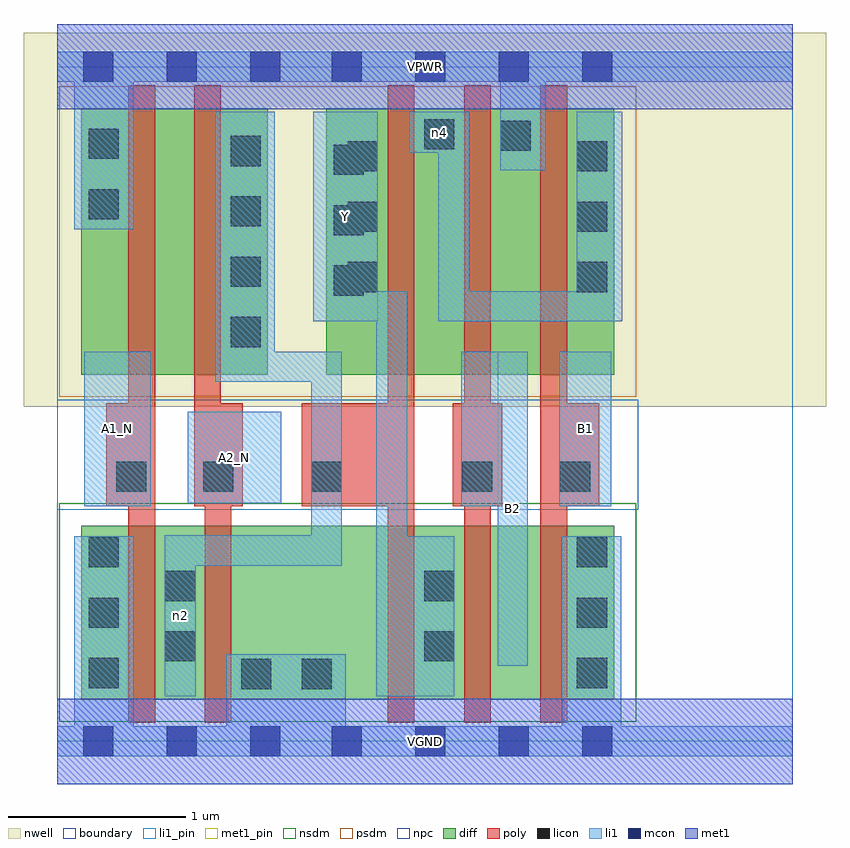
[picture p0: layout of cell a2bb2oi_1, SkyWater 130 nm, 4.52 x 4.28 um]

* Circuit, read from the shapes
.subckt a2bb2oi_1 A1_N A2_N B1 B2 VGND VPWR Y n2 n4
XM1 n2 A1_N VGND VSUBS sky130_fd_pr__nfet_01v8 w=0.98 l=0.15
XM2 VGND A2_N n2 VSUBS sky130_fd_pr__nfet_01v8 w=0.98 l=0.15
XM3 Y n2 VGND VSUBS sky130_fd_pr__nfet_01v8 w=0.98 l=0.15
XM4 n1 B2 Y VSUBS sky130_fd_pr__nfet_01v8 w=0.98 l=0.15
XM5 VGND B1 n1 VSUBS sky130_fd_pr__nfet_01v8 w=0.98 l=0.15
XM6 n3 A1_N VPWR n5 sky130_fd_pr__pfet_01v8 w=1.5 l=0.15
XM7 n2 A2_N n3 n5 sky130_fd_pr__pfet_01v8 w=1.5 l=0.15
XM8 n4 n2 Y n5 sky130_fd_pr__pfet_01v8 w=1.5 l=0.15
XM9 VPWR B2 n4 n5 sky130_fd_pr__pfet_01v8 w=1.5 l=0.15
XM10 n4 B1 VPWR n5 sky130_fd_pr__pfet_01v8 w=1.5 l=0.15
.ends

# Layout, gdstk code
import gdstk
lib = gdstk.Library(unit=1e-6, precision=1e-09)
def R(c, l, rs):  # rectangles x0, y0, x1, y1
    for r in rs: c.add(gdstk.rectangle(r[:2], r[2:], *l))
def A(c, l, x, y, w, h, nx, ny, dx, dy):  # array of equal rectangles
    R(c, l, [(x+i*dx, y+j*dy, x+i*dx+w, y+j*dy+h) for i in range(nx) for j in range(ny)])
nwell = (64, 20)
diff = (65, 20)
poly = (66, 20)
licon = (66, 44)
li1_pin = (67, 16)
li1 = (67, 20)
mcon = (67, 44)
met1_pin = (68, 16)
met1 = (68, 20)
nsdm = (93, 44)
psdm = (94, 20)
npc = (95, 20)
boundary = (235, 4)

a2bb2oi_1 = lib.new_cell('a2bb2oi_1')
R(a2bb2oi_1, nwell, [(-0.19,1.885,4.33,3.99), (0,1.885,4.14,3.99)])
R(a2bb2oi_1, diff, [(0.135,0.235,3.135,1.215), (0.135,2.065,1.185,3.565), (1.515,2.065,3.135,3.565)])
A(a2bb2oi_1, poly, 1.86, 0.105, 0.15, 3.59, 3, 1, 0.43, 0)
R(a2bb2oi_1, poly, [(0.4,0.105,0.55,3.695), (0.83,0.105,0.98,1.905), (0.275,1.325,0.55,1.905), (0.77,1.325,1.045,1.905), (0.77,1.325,0.92,3.695), (1.375,1.325,2.01,1.905), (2.225,1.325,2.505,1.905), (2.72,1.325,3.05,1.905)])
A(a2bb2oi_1, licon, 0.175, 0.3, 0.17, 0.17, 1, 3, 0, 0.34)
A(a2bb2oi_1, licon, 2.925, 0.3, 0.17, 0.17, 1, 3, 0, 0.34)
A(a2bb2oi_1, licon, 0.975, 2.22, 0.17, 0.17, 1, 4, 0, 0.34)
A(a2bb2oi_1, licon, 1.555, 2.51, 0.17, 0.17, 1, 3, 0, 0.34)
A(a2bb2oi_1, licon, 1.635, 2.53, 0.17, 0.17, 1, 3, 0, 0.34)
A(a2bb2oi_1, licon, 2.925, 2.53, 0.17, 0.17, 1, 3, 0, 0.34)
R(a2bb2oi_1, licon, [(1.035,0.295,1.205,0.465), (1.375,0.295,1.545,0.465), (0.605,0.45,0.775,0.62), (2.065,0.45,2.235,0.62), (0.605,0.79,0.775,0.96), (2.065,0.79,2.235,0.96), (0.33,1.405,0.5,1.575), (0.82,1.405,0.99,1.575), (1.43,1.405,1.6,1.575), (2.28,1.405,2.45,1.575), (2.83,1.405,3,1.575), (0.175,2.94,0.345,3.11), (0.175,3.28,0.345,3.45), (2.495,3.325,2.665,3.495), (2.065,3.335,2.235,3.505)])
R(a2bb2oi_1, li1_pin, [(2.48,0.425,2.65,2.195), (0.15,1.325,0.525,2.195), (2.825,1.325,3.12,2.195), (0.735,1.34,1.26,1.855), (1.44,2.365,1.805,3.545)])
R(a2bb2oi_1, li1, [(0,-0.085,4.14,0.085), (0.095,-0.085,0.43,1.155), (0.95,-0.085,1.625,0.49), (2.84,-0.085,3.175,1.155), (0.605,0.255,0.78,1.16), (1.795,0.255,1.97,2.535), (1.795,0.255,2.235,1.155), (2.48,0.425,2.65,2.195), (0.605,0.99,1.6,1.16), (1.43,0.99,1.6,2.195), (0.15,1.325,0.525,2.195), (2.275,1.325,2.65,2.195), (2.825,1.325,3.12,2.195), (0.735,1.34,1.26,1.855), (0.89,2.025,1.225,3.545), (0.89,2.025,1.6,2.195), (1.44,2.365,1.805,3.545), (2.145,2.365,3.18,2.535), (2.145,2.365,2.32,3.545), (2.925,2.365,3.18,3.545), (0.095,2.885,0.43,3.885), (2.495,3.215,2.75,3.885), (1.98,3.315,2.32,3.545), (0,3.715,4.14,3.885)])
A(a2bb2oi_1, mcon, 0.145, -0.085, 0.17, 0.17, 3, 2, 0.47, 3.8)
A(a2bb2oi_1, mcon, 1.545, -0.085, 0.17, 0.17, 4, 2, 0.47, 3.8)
R(a2bb2oi_1, met1_pin, [(0,-0.24,4.14,0.24), (0,3.56,4.14,4.04)])
R(a2bb2oi_1, met1, [(0,-0.24,4.14,0.24), (0,3.56,4.14,4.04)])
R(a2bb2oi_1, nsdm, [(0.01,0.11,3.26,1.34)])
R(a2bb2oi_1, psdm, [(0.01,1.94,3.26,3.69)])
R(a2bb2oi_1, npc, [(0,1.305,3.27,1.925)])
R(a2bb2oi_1, boundary, [(0,0,4.14,3.8)])
a2bb2oi_1.add(gdstk.Label('A1_N', (0.337,1.76), layer=67, texttype=5))
a2bb2oi_1.add(gdstk.Label('A2_N', (0.997,1.597), layer=67, texttype=5))
a2bb2oi_1.add(gdstk.Label('B1', (2.972,1.76), layer=67, texttype=5))
a2bb2oi_1.add(gdstk.Label('B2', (2.565,1.31), layer=67, texttype=5))
a2bb2oi_1.add(gdstk.Label('Y', (1.622,2.955), layer=67, texttype=5))
a2bb2oi_1.add(gdstk.Label('n2', (0.692,0.707), layer=67, texttype=5))
a2bb2oi_1.add(gdstk.Label('n4', (2.15,3.43), layer=67, texttype=5))
a2bb2oi_1.add(gdstk.Label('VPWR', (2.07,3.8), layer=68, texttype=5))
a2bb2oi_1.add(gdstk.Label('VGND', (2.07,0), layer=68, texttype=5))
a2bb2oi_1.add(gdstk.Label('A1_N', (0.337,1.76), layer=67, texttype=16))
a2bb2oi_1.add(gdstk.Label('A2_N', (0.997,1.597), layer=67, texttype=16))
a2bb2oi_1.add(gdstk.Label('B1', (2.972,1.76), layer=67, texttype=16))
a2bb2oi_1.add(gdstk.Label('B2', (2.565,1.31), layer=67, texttype=16))
a2bb2oi_1.add(gdstk.Label('Y', (1.622,2.955), layer=67, texttype=16))
a2bb2oi_1.add(gdstk.Label('VPWR', (2.07,3.8), layer=68, texttype=16))
a2bb2oi_1.add(gdstk.Label('VGND', (2.07,0), layer=68, texttype=16))

lib.write_gds('a2bb2oi_1.gds')
